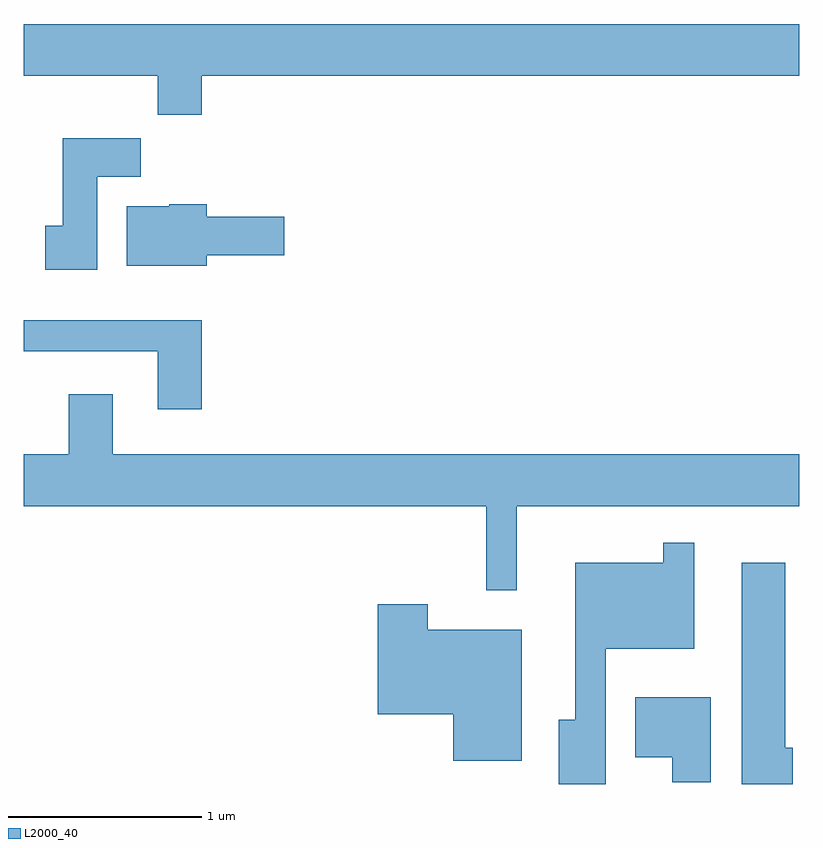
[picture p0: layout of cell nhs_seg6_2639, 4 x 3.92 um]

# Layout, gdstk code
import gdstk
lib = gdstk.Library(unit=1e-6, precision=1e-09)
def P(c, l, *ps):  # polygons
    for p in ps: c.add(gdstk.Polygon(p, *l))
L2000_40 = (2000, 40)

nhs_seg6_2639 = lib.new_cell('nhs_seg6_2639')
P(nhs_seg6_2639, L2000_40, [(266.529,1547.816),(269.611,1547.816),(269.611,1548.084),(265.611,1548.084),(265.611,1547.816),(266.301,1547.816),(266.301,1547.616),(266.529,1547.616)],
  [(265.989,1547.296),(266.214,1547.296),(266.214,1547.494),(265.811,1547.494),(265.811,1547.044),(265.721,1547.044),(265.721,1546.816),(265.989,1546.816)],
  [(266.554,1546.891),(266.954,1546.891),(266.954,1547.089),(266.554,1547.089),(266.554,1547.154),(266.36,1547.154),(266.36,1547.144),(266.141,1547.144),(266.141,1546.836),(266.554,1546.836)],
  [(266.529,1546.554),(265.611,1546.554),(265.611,1546.396),(266.301,1546.396),(266.301,1546.096),(266.529,1546.096)],
  [(268.154,1545.596),(269.611,1545.596),(269.611,1545.864),(266.069,1545.864),(266.069,1546.174),(265.841,1546.174),(265.841,1545.864),(265.611,1545.864),(265.611,1545.596),(267.996,1545.596),(267.996,1545.163),(268.154,1545.163)],
  [(268.614,1544.861),(269.069,1544.861),(269.069,1545.408),(268.911,1545.408),(268.911,1545.304),(268.456,1545.304),(268.456,1544.494),(268.371,1544.494),(268.371,1544.162),(268.614,1544.162)],
  [(269.579,1544.349),(269.539,1544.349),(269.539,1545.304),(269.316,1545.304),(269.316,1544.162),(269.579,1544.162)],
  [(268.179,1544.959),(267.694,1544.959),(267.694,1545.089),(267.436,1545.089),(267.436,1544.521),(267.826,1544.521),(267.826,1544.281),(268.179,1544.281)],
  [(269.154,1544.609),(268.766,1544.609),(268.766,1544.301),(268.956,1544.301),(268.956,1544.171),(269.154,1544.171)])

lib.write_gds('nhs_seg6_2639.gds')
